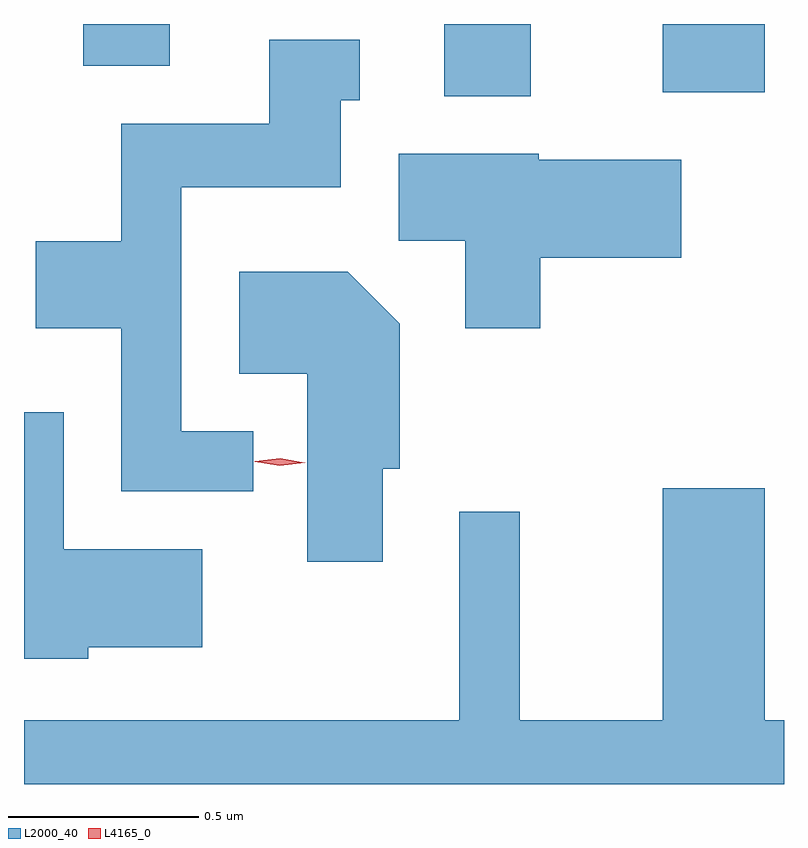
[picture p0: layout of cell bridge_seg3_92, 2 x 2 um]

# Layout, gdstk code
import gdstk
lib = gdstk.Library(unit=1e-6, precision=1e-09)
def R(c, l, rs):  # rectangles x0, y0, x1, y1
    for r in rs: c.add(gdstk.rectangle(r[:2], r[2:], *l))
def P(c, l, *ps):  # polygons
    for p in ps: c.add(gdstk.Polygon(p, *l))
L2000_40 = (2000, 40)
L4165_0 = (4165, 0)

bridge_seg3_92 = lib.new_cell('bridge_seg3_92')
R(bridge_seg3_92, L2000_40, [(1153.561,1125.706,1153.789,1125.896), (1154.136,1125.716,1154.404,1125.896), (1152.611,1125.786,1152.839,1125.896)])
P(bridge_seg3_92, L2000_40, [(1153.058,1124.824),(1152.869,1124.824),(1152.869,1125.466),(1153.289,1125.466),(1153.289,1125.696),(1153.338,1125.696),(1153.338,1125.854),(1153.101,1125.854),(1153.101,1125.634),(1152.711,1125.634),(1152.711,1125.324),(1152.486,1125.324),(1152.486,1125.096),(1152.711,1125.096),(1152.711,1124.666),(1153.058,1124.666)],
  [(1153.814,1125.281),(1154.184,1125.281),(1154.184,1125.539),(1153.81,1125.539),(1153.81,1125.554),(1153.441,1125.554),(1153.441,1125.326),(1153.616,1125.326),(1153.616,1125.096),(1153.814,1125.096)],
  [(1153.399,1124.726),(1153.444,1124.726),(1153.444,1125.107),(1153.307,1125.244),(1153.021,1125.244),(1153.021,1124.976),(1153.201,1124.976),(1153.201,1124.481),(1153.399,1124.481)],
  [(1152.624,1124.256),(1152.924,1124.256),(1152.924,1124.514),(1152.559,1124.514),(1152.559,1124.874),(1152.455,1124.874),(1152.455,1124.226),(1152.624,1124.226)],
  [(1154.455,1124.064),(1154.404,1124.064),(1154.404,1124.674),(1154.136,1124.674),(1154.136,1124.064),(1153.759,1124.064),(1153.759,1124.613),(1153.601,1124.613),(1153.601,1124.064),(1152.455,1124.064),(1152.455,1123.896),(1154.455,1123.896)])
P(bridge_seg3_92, L4165_0, [(1153.128,1124.733),(1153.062,1124.744),(1153.062,1124.744),(1153.062,1124.745),(1153.129,1124.753),(1153.194,1124.742),(1153.195,1124.742),(1153.194,1124.741)])

lib.write_gds('bridge_seg3_92.gds')
